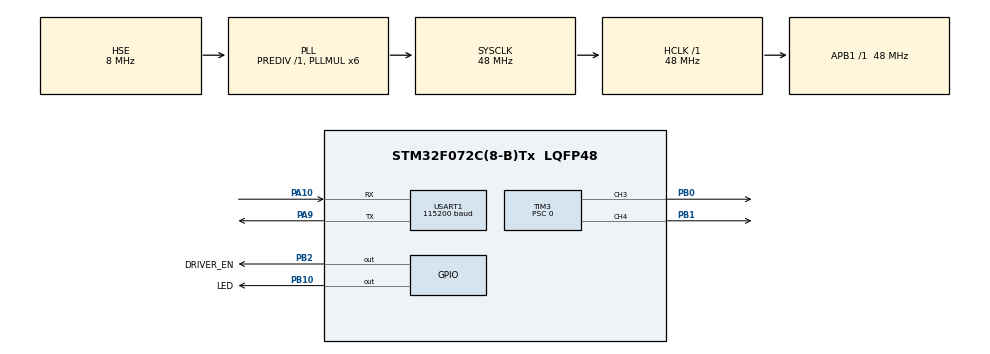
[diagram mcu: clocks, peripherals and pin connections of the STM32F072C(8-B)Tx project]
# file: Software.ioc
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Mcu.Family=STM32F0
Mcu.Name=STM32F072C(8-B)Tx
Mcu.Package=LQFP48
NVIC.USART1_IRQn=true\:0\:0\:false\:false\:true\:true\:true\:true
PA10.Mode=Asynchronous
PA10.Signal=USART1_RX
PA13.Mode=Serial_Wire
PA13.Signal=SYS_SWDIO
PA14.Mode=Serial_Wire
PA14.Signal=SYS_SWCLK
PA9.Mode=Asynchronous
PA9.Signal=USART1_TX
PB0.Signal=S_TIM3_CH3
PB1.Signal=S_TIM3_CH4
PB10.GPIO_Label=LED
PB10.Signal=GPIO_Output
PB2.GPIO_Label=DRIVER_EN
PB2.Signal=GPIO_Output
PF0-OSC_IN.Mode=HSE-External-Oscillator
PF0-OSC_IN.Signal=RCC_OSC_IN
PF1-OSC_OUT.Mode=HSE-External-Oscillator
PF1-OSC_OUT.Signal=RCC_OSC_OUT
ProjectManager.HeapSize=0x200
ProjectManager.StackSize=0x400
ProjectManager.TargetToolchain=MDK-ARM V5.32
RCC.AHBFreq_Value=48000000
RCC.APB1Freq_Value=48000000
RCC.APB1TimFreq_Value=48000000
RCC.HCLKFreq_Value=48000000
RCC.PLLMUL=RCC_PLL_MUL6
RCC.PLLSourceVirtual=RCC_PLLSOURCE_HSE
RCC.SYSCLKFreq_VALUE=48000000
RCC.SYSCLKSource=RCC_SYSCLKSOURCE_PLLCLK
SH.S_TIM3_CH3.0=TIM3_CH3,PWM Generation3 CH3
SH.S_TIM3_CH4.0=TIM3_CH4,PWM Generation4 CH4
TIM3.Channel-PWM\ Generation3\ CH3=TIM_CHANNEL_3
TIM3.Channel-PWM\ Generation4\ CH4=TIM_CHANNEL_4
TIM3.Period=4800-1
TIM3.Prescaler=0
USART1.BaudRate=115200
USART1.VirtualMode-Asynchronous=VM_ASYNC
VP_TIM3_VS_ClockSourceINT.Mode=Internal
board=custom

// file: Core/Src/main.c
/* USER CODE BEGIN Header */
/**
  ******************************************************************************
  * @file           : main.c
  * @brief          : Main program body
  ******************************************************************************
  * @attention
  *
  * Copyright (c) 2026 STMicroelectronics.
  * All rights reserved.
  *
  * This software is licensed under terms that can be found in the LICENSE file
  * in the root directory of this software component.
  * If no LICENSE file comes with this software, it is provided AS-IS.
  *
  ******************************************************************************
  */
/* USER CODE END Header */
#include "main.h"

TIM_HandleTypeDef htim3;

UART_HandleTypeDef huart1;

/* USER CODE BEGIN PV */
/* ---------------- Haberlesme protokolu (USART1, 115200 8N1) ----------------
 * Ana kart -> Surucu
 *   *<deger>#   Guc komutu, -1000 (max sogutma) ... +1000 (max isitma)
 *               Ornek: *-450#  *0#  *1000#
 *               Ana kart bu komutu ~500 ms'de bir tekrar gonderir.
 *   *S#         Durum sorgusu
 * Surucu -> Ana kart
 *   *A<deger>#  Onay: o anda uygulanan deger (her komuta ve *S#'ye cevap)
 *   *T#         Zaman asimi: 2 s komut gelmedi, cikis kapatildi
 *               (zaman asimi durumunda *S#'ye de *T# doner)
 * Paketlerin sonuna okunabilirlik icin '\n' eklenir; alici bunu yok sayar.
 */
#define LINK_TIMEOUT_MS   2000U     /* bu sure komut gelmezse cikis kapanir */

volatile int16_t PWM_Val = 0;       /* uygulanan komut (-1000..+1000)        */

#define RX_DIGITS_MAX   4
static uint8_t rx_byte;
static uint8_t rx_active = 0;       /* '*' alindi, paket toplaniyor */
static uint8_t rx_neg = 0;
static uint8_t rx_ndigits = 0;
static int16_t rx_value = 0;
static uint8_t rx_query = 0;        /* paket govdesi 'S' */

static volatile uint8_t  cmd_new = 0;        /* yeni guc komutu geldi, onay gonderilecek */
static volatile uint8_t  query_new = 0;      /* *S# geldi, durum gonderilecek           */
static volatile uint32_t last_cmd_tick = 0;  /* son gecerli guc komutunun zamani       */
static uint8_t           link_timeout = 1;   /* 1: zaman asimi, cikis kapali (acilista) */
/* USER CODE END PV */

void SystemClock_Config(void);
static void MX_GPIO_Init(void);
static void MX_TIM3_Init(void);
static void MX_USART1_UART_Init(void);

/* USER CODE BEGIN 0 */
/* TIM3: 48 MHz, PSC = 0, ARR = 4800-1  ->  10 kHz PWM */
#define DRIVER_PWM_PERIOD   4800U   /* TIM3 ARR + 1 */
#define DRIVER_PWM_MAX      4560U   /* %95: bootstrap kondansatoru sarj suresi icin */
#define DRIVER_CMD_MAX      1000

/* IR2104 H koprusu surucu.
 * speed: -1000 (tam sol) ... 0 (dur, DRIVER_EN=0) ... +1000 (tam sag)
 * CH3 (PB0) = A kolu, CH4 (PB1) = B kolu. Pozitif: A kolu PWM, B kolu 0 (alt anahtar acik).
 * Negatif: B kolu PWM, A kolu 0. speed != 0 iken DRIVER_EN=1. */
void Driver_Set(int16_t speed)
{
  if (speed > DRIVER_CMD_MAX)  speed = DRIVER_CMD_MAX;
  if (speed < -DRIVER_CMD_MAX) speed = -DRIVER_CMD_MAX;

  uint32_t mag = (speed < 0) ? (uint32_t)(-speed) : (uint32_t)speed;
  uint32_t duty = (mag * DRIVER_PWM_MAX) / DRIVER_CMD_MAX;

  if (speed >= 0)
  {
    __HAL_TIM_SetCompare(&htim3, TIM_CHANNEL_4, 0);
    __HAL_TIM_SetCompare(&htim3, TIM_CHANNEL_3, duty);
  }
  else
  {
    __HAL_TIM_SetCompare(&htim3, TIM_CHANNEL_3, 0);
    __HAL_TIM_SetCompare(&htim3, TIM_CHANNEL_4, duty);
  }

  /* speed = 0 ise surucu kapali (DRIVER_EN=0), aksi halde acik */
  HAL_GPIO_WritePin(DRIVER_EN_GPIO_Port, DRIVER_EN_Pin, (speed != 0) ? GPIO_PIN_SET : GPIO_PIN_RESET);
}

/* "*A-450#\n" / "*T#\n" paketini gonderir (kisa, ~0.7 ms bloklar) */
static void Link_SendAck(int16_t value)
{
  char buf[16];
  uint8_t n = 0;
  int32_t v = value;

  buf[n++] = '*';
  buf[n++] = 'A';
  if (v < 0) { buf[n++] = '-'; v = -v; }
  if (v >= 1000) buf[n++] = (char)('0' + (v / 1000) % 10);
  if (v >= 100)  buf[n++] = (char)('0' + (v / 100) % 10);
  if (v >= 10)   buf[n++] = (char)('0' + (v / 10) % 10);
  buf[n++] = (char)('0' + v % 10);
  buf[n++] = '#';
  buf[n++] = '\n';
  HAL_UART_Transmit(&huart1, (uint8_t *)buf, n, 10);
}

static void Link_SendTimeout(void)
{
  HAL_UART_Transmit(&huart1, (uint8_t *)"*T#\n", 4, 10);
}

/* Ana dongude surekli cagrilir: komut uygular, onay/durum gonderir,
 * zaman asimini denetler ve LED'i surer. Bloklamaz. */
static void Link_Task(void)
{
  static uint32_t led_tick = 0;
  uint32_t now = HAL_GetTick();

  /* 1) Yeni guc komutu: cikisa uygula ve onay gonder */
  if (cmd_new)
  {
    cmd_new = 0;
    link_timeout = 0;
    Driver_Set(PWM_Val);
    Link_SendAck(PWM_Val);
  }

  /* 2) Durum sorgusu */
  if (query_new)
  {
    query_new = 0;
    if (link_timeout) Link_SendTimeout();
    else              Link_SendAck(PWM_Val);
  }

  /* 3) Zaman asimi: 2 s gecerli komut yoksa cikisi tamamen kapat.
   *    last_cmd_tick kesmede guncellenir; once o okunur, sonra zaman alinir
   *    (aksi halde 'now < last' olup fark tasabilir). */
  uint32_t last = last_cmd_tick;
  now = HAL_GetTick();
  if (!link_timeout && !cmd_new && (now - last) >= LINK_TIMEOUT_MS)
  {
    link_timeout = 1;
    PWM_Val = 0;
    Driver_Set(0);          /* PWM = 0 ve DRIVER_EN = 0 */
    Link_SendTimeout();
  }

  /* 4) LED: normalde 100 ms, zaman asiminda 1 s yanip soner */
  if ((now - led_tick) >= (link_timeout ? 1000U : 100U))
  {
    led_tick = now;
    HAL_GPIO_TogglePin(LED_GPIO_Port, LED_Pin);
  }
}
/* USER CODE END 0 */

int main(void)
{

  /* MCU Configuration--------------------------------------------------------*/

  /* Reset of all peripherals, Initializes the Flash interface and the Systick. */
  HAL_Init();

  /* Configure the system clock */
  SystemClock_Config();

  /* Initialize all configured peripherals */
  MX_GPIO_Init();
  MX_TIM3_Init();
  MX_USART1_UART_Init();
  /* USER CODE BEGIN 2 */
  Driver_Set(0);
  HAL_TIM_PWM_Start(&htim3, TIM_CHANNEL_3);
  HAL_TIM_PWM_Start(&htim3, TIM_CHANNEL_4);
  HAL_UART_Receive_IT(&huart1, &rx_byte, 1);
  /* USER CODE END 2 */

  /* Infinite loop */
  while (1)
  {

    /* USER CODE BEGIN 3 */
    Link_Task();
  }
  /* USER CODE END 3 */
}

void SystemClock_Config(void)
{
  RCC_OscInitTypeDef RCC_OscInitStruct = {0};
  RCC_ClkInitTypeDef RCC_ClkInitStruct = {0};
  RCC_PeriphCLKInitTypeDef PeriphClkInit = {0};

  /** Initializes the RCC Oscillators according to the specified parameters
  * in the RCC_OscInitTypeDef structure.
  */
  RCC_OscInitStruct.OscillatorType = RCC_OSCILLATORTYPE_HSE;
  RCC_OscInitStruct.HSEState = RCC_HSE_ON;
  RCC_OscInitStruct.PLL.PLLState = RCC_PLL_ON;
  RCC_OscInitStruct.PLL.PLLSource = RCC_PLLSOURCE_HSE;
  RCC_OscInitStruct.PLL.PLLMUL = RCC_PLL_MUL6;
  RCC_OscInitStruct.PLL.PREDIV = RCC_PREDIV_DIV1;
  if (HAL_RCC_OscConfig(&RCC_OscInitStruct) != HAL_OK)
  {
    Error_Handler();
  }

  /** Initializes the CPU, AHB and APB buses clocks
  */
  RCC_ClkInitStruct.ClockType = RCC_CLOCKTYPE_HCLK|RCC_CLOCKTYPE_SYSCLK
                              |RCC_CLOCKTYPE_PCLK1;
  RCC_ClkInitStruct.SYSCLKSource = RCC_SYSCLKSOURCE_PLLCLK;
  RCC_ClkInitStruct.AHBCLKDivider = RCC_SYSCLK_DIV1;
  RCC_ClkInitStruct.APB1CLKDivider = RCC_HCLK_DIV1;

  if (HAL_RCC_ClockConfig(&RCC_ClkInitStruct, FLASH_LATENCY_1) != HAL_OK)
  {
    Error_Handler();
  }
  PeriphClkInit.PeriphClockSelection = RCC_PERIPHCLK_USART1;
  PeriphClkInit.Usart1ClockSelection = RCC_USART1CLKSOURCE_PCLK1;
  if (HAL_RCCEx_PeriphCLKConfig(&PeriphClkInit) != HAL_OK)
  {
    Error_Handler();
  }
}

static void MX_TIM3_Init(void)
{

  TIM_ClockConfigTypeDef sClockSourceConfig = {0};
  TIM_MasterConfigTypeDef sMasterConfig = {0};
  TIM_OC_InitTypeDef sConfigOC = {0};

  htim3.Instance = TIM3;
  htim3.Init.Prescaler = 0;
  htim3.Init.CounterMode = TIM_COUNTERMODE_UP;
  htim3.Init.Period = 4800-1;
  htim3.Init.ClockDivision = TIM_CLOCKDIVISION_DIV1;
  htim3.Init.AutoReloadPreload = TIM_AUTORELOAD_PRELOAD_DISABLE;
  if (HAL_TIM_Base_Init(&htim3) != HAL_OK)
  {
    Error_Handler();
  }
  sClockSourceConfig.ClockSource = TIM_CLOCKSOURCE_INTERNAL;
  if (HAL_TIM_ConfigClockSource(&htim3, &sClockSourceConfig) != HAL_OK)
  {
    Error_Handler();
  }
  if (HAL_TIM_PWM_Init(&htim3) != HAL_OK)
  {
    Error_Handler();
  }
  sMasterConfig.MasterOutputTrigger = TIM_TRGO_RESET;
  sMasterConfig.MasterSlaveMode = TIM_MASTERSLAVEMODE_DISABLE;
  if (HAL_TIMEx_MasterConfigSynchronization(&htim3, &sMasterConfig) != HAL_OK)
  {
    Error_Handler();
  }
  sConfigOC.OCMode = TIM_OCMODE_PWM1;
  sConfigOC.Pulse = 0;
  sConfigOC.OCPolarity = TIM_OCPOLARITY_HIGH;
  sConfigOC.OCFastMode = TIM_OCFAST_DISABLE;
  if (HAL_TIM_PWM_ConfigChannel(&htim3, &sConfigOC, TIM_CHANNEL_3) != HAL_OK)
  {
    Error_Handler();
  }
  if (HAL_TIM_PWM_ConfigChannel(&htim3, &sConfigOC, TIM_CHANNEL_4) != HAL_OK)
  {
    Error_Handler();
  }
  HAL_TIM_MspPostInit(&htim3);

}

static void MX_USART1_UART_Init(void)
{

  huart1.Instance = USART1;
  huart1.Init.BaudRate = 115200;
  huart1.Init.WordLength = UART_WORDLENGTH_8B;
  huart1.Init.StopBits = UART_STOPBITS_1;
  huart1.Init.Parity = UART_PARITY_NONE;
  huart1.Init.Mode = UART_MODE_TX_RX;
  huart1.Init.HwFlowCtl = UART_HWCONTROL_NONE;
  huart1.Init.OverSampling = UART_OVERSAMPLING_16;
  huart1.Init.OneBitSampling = UART_ONE_BIT_SAMPLE_DISABLE;
  huart1.AdvancedInit.AdvFeatureInit = UART_ADVFEATURE_NO_INIT;
  if (HAL_UART_Init(&huart1) != HAL_OK)
  {
    Error_Handler();
  }

}

static void MX_GPIO_Init(void)
{
  GPIO_InitTypeDef GPIO_InitStruct = {0};

  /* GPIO Ports Clock Enable */
  __HAL_RCC_GPIOF_CLK_ENABLE();
  __HAL_RCC_GPIOB_CLK_ENABLE();
  __HAL_RCC_GPIOA_CLK_ENABLE();

  /*Configure GPIO pin Output Level */
  HAL_GPIO_WritePin(GPIOB, DRIVER_EN_Pin|LED_Pin, GPIO_PIN_RESET);

  /*Configure GPIO pins : DRIVER_EN_Pin LED_Pin */
  GPIO_InitStruct.Pin = DRIVER_EN_Pin|LED_Pin;
  GPIO_InitStruct.Mode = GPIO_MODE_OUTPUT_PP;
  GPIO_InitStruct.Pull = GPIO_NOPULL;
  GPIO_InitStruct.Speed = GPIO_SPEED_FREQ_LOW;
  HAL_GPIO_Init(GPIOB, &GPIO_InitStruct);

}

/* USER CODE BEGIN 4 */
/* Gelen her byte icin cagrilir. '*' paketi baslatir, '#' bitirir. */
void HAL_UART_RxCpltCallback(UART_HandleTypeDef *huart)
{
  if (huart->Instance == USART1)
  {
    uint8_t c = rx_byte;

    if (c == '*')
    {
      rx_active = 1;
      rx_neg = 0;
      rx_ndigits = 0;
      rx_value = 0;
      rx_query = 0;
    }
    else if (rx_active)
    {
      if (c >= '0' && c <= '9' && rx_ndigits < RX_DIGITS_MAX && !rx_query)
      {
        rx_value = rx_value * 10 + (c - '0');
        rx_ndigits++;
      }
      else if (c == '-' && rx_ndigits == 0 && !rx_neg && !rx_query)
      {
        rx_neg = 1;
      }
      else if (c == 'S' && rx_ndigits == 0 && !rx_neg && !rx_query)
      {
        rx_query = 1;
      }
      else if (c == '#' && rx_query)
      {
        query_new = 1;
        rx_active = 0;
      }
      else if (c == '#' && rx_ndigits > 0)
      {
        int16_t v = rx_neg ? -rx_value : rx_value;
        if (v > DRIVER_CMD_MAX)  v = DRIVER_CMD_MAX;
        if (v < -DRIVER_CMD_MAX) v = -DRIVER_CMD_MAX;
        PWM_Val = v;
        last_cmd_tick = HAL_GetTick();
        cmd_new = 1;
        rx_active = 0;
      }
      else
      {
        rx_active = 0; /* gecersiz karakter: paketi at */
      }
    }

    HAL_UART_Receive_IT(&huart1, &rx_byte, 1);
  }
}

/* Overrun/framing hatasinda alimi yeniden baslat */
void HAL_UART_ErrorCallback(UART_HandleTypeDef *huart)
{
  if (huart->Instance == USART1)
  {
    rx_active = 0;
    HAL_UART_Receive_IT(&huart1, &rx_byte, 1);
  }
}

/* USER CODE END 4 */

void Error_Handler(void)
{
  __disable_irq();
  while (1)
  {
  }
}
